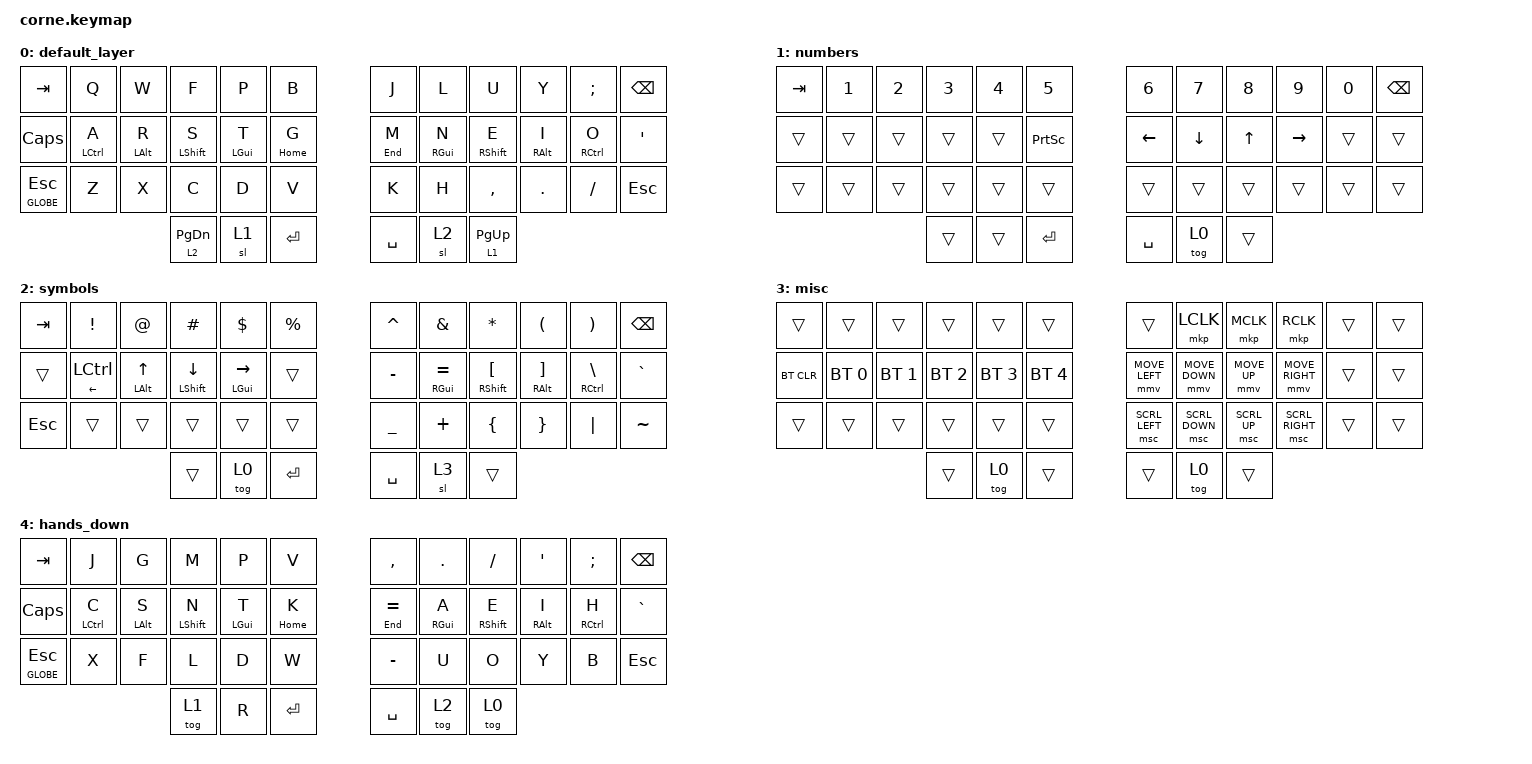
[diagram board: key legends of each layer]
/*
 * Copyright (c) 2020 The ZMK Contributors
 *
 * SPDX-License-Identifier: MIT
 */

#include <behaviors.dtsi>
#include <dt-bindings/zmk/bt.h>
#include <dt-bindings/zmk/keys.h>
#include <dt-bindings/zmk/pointing.h>

&mt {
    flavor = "balanced";
    require-prior-idle-ms = <150>;
};

/ {
    combos {
        compatible = "zmk,combos";

        to_handsdown {
            bindings = <&to 4>;
            key-positions = <29 30>;
        };

        to_default {
            bindings = <&to 0>;
            key-positions = <17 18>;
        };

        z {
            bindings = <&kp Z>;
            key-positions = <1 2>;
        };

        q {
            bindings = <&kp Q>;
            key-positions = <2 4>;
        };
    };

    keymap {
        compatible = "zmk,keymap";

        default_layer {
            // -----------------------------------------------------------------------------------------
            // |  TAB |  Q  |  W  |  E  |  R  |  T  |   |  Y  |  U   |  I  |  O  |  P  | BKSP |
            // | CTRL |  A  |  S  |  D  |  F  |  G  |   |  H  |  J   |  K  |  L  |  ;  |  '   |
            // | SHFT |  Z  |  X  |  C  |  V  |  B  |   |  N  |  M   |  ,  |  .  |  /  | ESC  |
            //                    | GUI | LWR | SPC |   | ENT | RSE  | ALT |

            bindings = <
&kp TAB        &kp Q        &kp W           &kp F            &kp P           &kp B         &kp J      &kp L            &kp U          &kp Y       &kp SEMICOLON  &kp BSPC
&kp CAPS       &mt LCTRL A  &mt LEFT_ALT R  &mt LSHFT S      &mt LEFT_GUI T  &mt HOME G    &mt END M  &mt RIGHT_GUI N  &mt RSHFT E    &mt RALT I  &mt RCTRL O    &kp SQT
&mt GLOBE ESC  &kp Z        &kp X           &kp C            &kp D           &kp V         &kp K      &kp H            &kp COMMA      &kp DOT     &kp FSLH       &kp ESC
                                            &lt 2 PAGE_DOWN  &sl 1           &kp ENTER     &kp SPACE  &sl 2            &lt 1 PAGE_UP
            >;
        };

        numbers {
            // -----------------------------------------------------------------------------------------
            // |  TAB |  1  |  2  |  3  |  4  |  5  |   |  6  |  7  |  8  |  9  |  0  | BKSP |
            // | BTCLR| BT1 | BT2 | BT3 | BT4 | BT5 |   | LFT | DWN |  UP | RGT |     |      |
            // | SHFT |     |     |     |     |     |   |     |     |     |     |     |      |
            //                    | GUI |     | SPC |   | ENT |     | ALT |

            bindings = <
&kp TAB  &kp N1  &kp N2  &kp N3  &kp N4  &kp N5             &kp N6     &kp N7    &kp N8  &kp N9     &kp N0  &kp BSPC
&trans   &trans  &trans  &trans  &trans  &kp PRINTSCREEN    &kp LEFT   &kp DOWN  &kp UP  &kp RIGHT  &trans  &trans
&trans   &trans  &trans  &trans  &trans  &trans             &trans     &trans    &trans  &trans     &trans  &trans
                         &trans  &trans  &kp ENTER          &kp SPACE  &tog 0    &trans
            >;
        };

        symbols {
            // -----------------------------------------------------------------------------------------
            // |  TAB |  !  |  @  |  #  |  $  |  %  |   |  ^  |  &  |  *  |  (  |  )  | BKSP |
            // | CTRL |     |     |     |     |     |   |  -  |  =  |  [  |  ]  |  \  |  `   |
            // | SHFT |     |     |     |     |     |   |  _  |  +  |  {  |  }  | "|" |  ~   |
            //                    | GUI |     | SPC |   | ENT |     | ALT |

            bindings = <
&kp TAB  &kp EXCL        &kp AT           &kp HASH         &kp DLLR        &kp PRCNT    &kp CARET  &kp AMPS        &kp ASTRK       &kp LPAR       &kp RPAR        &kp BSPC
&trans   &mt LEFT LCTRL  &mt LEFT_ALT UP  &mt LSHIFT DOWN  &mt LGUI RIGHT  &trans       &kp MINUS  &mt RGUI EQUAL  &mt RSHFT LBKT  &mt RALT RBKT  &mt RCTRL BSLH  &kp GRAVE
&kp ESC  &trans          &trans           &trans           &trans          &trans       &kp UNDER  &kp PLUS        &kp LBRC        &kp RBRC       &kp PIPE        &kp TILDE
                                          &trans           &tog 0          &kp ENTER    &kp SPACE  &sl 3           &trans
            >;
        };

        misc {
            bindings = <
&trans      &trans        &trans        &trans        &trans        &trans          &trans          &mkp LCLK       &mkp MCLK     &mkp RCLK        &trans  &trans
&bt BT_CLR  &bt BT_SEL 0  &bt BT_SEL 1  &bt BT_SEL 2  &bt BT_SEL 3  &bt BT_SEL 4    &mmv MOVE_LEFT  &mmv MOVE_DOWN  &mmv MOVE_UP  &mmv MOVE_RIGHT  &trans  &trans
&trans      &trans        &trans        &trans        &trans        &trans          &msc SCRL_LEFT  &msc SCRL_DOWN  &msc SCRL_UP  &msc SCRL_RIGHT  &trans  &trans
                                        &trans        &tog 0        &trans          &trans          &tog 0          &trans
            >;
        };

        hands_down {
            bindings = <
&kp TAB        &kp J        &kp G           &kp M         &kp P       &kp V         &kp COMMA      &kp DOT     &kp SLASH     &kp SQT          &kp SEMICOLON  &kp BSPC
&kp CAPS       &mt LCTRL C  &mt LEFT_ALT S  &mt LSHIFT N  &mt LGUI T  &mt HOME K    &mt END EQUAL  &mt RGUI A  &mt RSHIFT E  &mt RIGHT_ALT I  &mt RCTRL H    &kp GRAVE
&mt GLOBE ESC  &kp X        &kp F           &kp L         &kp D       &kp W         &kp MINUS      &kp U       &kp O         &kp Y            &kp B          &kp ESC
                                            &tog 1        &kp R       &kp ENTER     &kp SPACE      &tog 2      &tog 0
            >;
        };
    };
};
